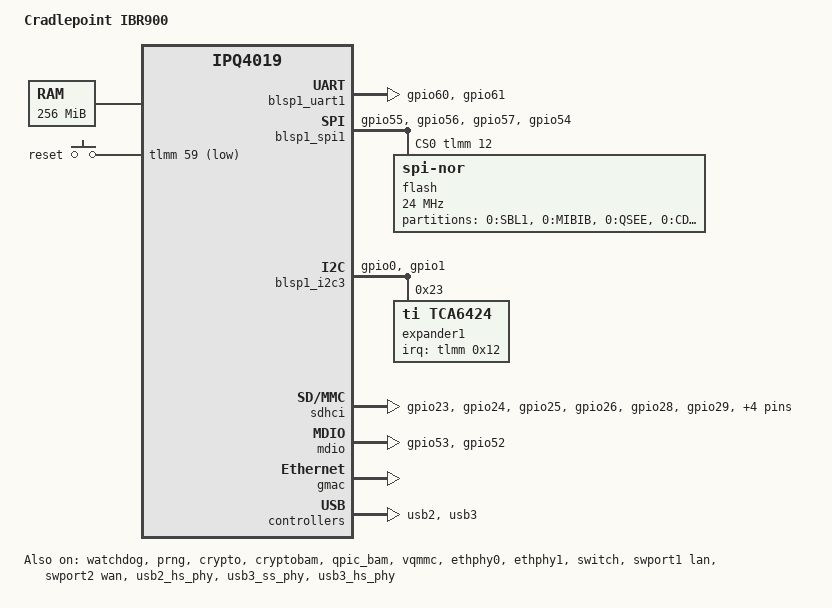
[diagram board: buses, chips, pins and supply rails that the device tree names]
// SPDX-License-Identifier: GPL-2.0-or-later
/* Copyright (c) 2025, Natalie Moore <natalie@natalielucy.dev> */

#include "qcom-ipq4019.dtsi"
#include <dt-bindings/gpio/gpio.h>
#include <dt-bindings/input/input.h>
#include <dt-bindings/leds/common.h>
#include <dt-bindings/soc/qcom,tcsr.h>

/ {
    model = "Cradlepoint IBR900";
    compatible = "cradlepoint,ibr900";

    aliases {
		// TODO: Verify if the ethernet0 alias is needed
		ethernet0 = &gmac;
	};

    memory {
        device_type = "memory";
        reg = <0x80000000 0x10000000>;
    };

    soc {
		ess_tcsr@1953000 {
			compatible = "qcom,tcsr";
			reg = <0x1953000 0x1000>;
			qcom,ess-interface-select = <TCSR_ESS_PSGMII>;
		};

		tcsr@1949000 {
			compatible = "qcom,tcsr";
			reg = <0x1949000 0x100>;
			qcom,wifi_glb_cfg = <TCSR_WIFI_GLB_CFG>;
		};

		tcsr@1957000 {
			compatible = "qcom,tcsr";
			reg = <0x1957000 0x100>;
			qcom,wifi_noc_memtype_m0_m2 = <TCSR_WIFI_NOC_MEMTYPE_M0_M2>;
		};
	};

    keys {
        compatible = "gpio-keys";

        reset {
            label = "reset";
            gpios = <&tlmm 59 GPIO_ACTIVE_LOW>;
            //linux,code = <KEY_RESTART>;
        };
    };
};

&watchdog {
	status = "okay";
};

&prng {
	status = "okay";
};

&crypto {
	status = "okay";
};

&blsp_dma {
	status = "okay";
};

&blsp1_uart1 {
        status = "okay";
        pinctrl-0 = <&serial_0_pins>;
        pinctrl-names = "default";
};

&blsp1_spi1 {
    status = "okay";

	pinctrl-0 = <&spi_0_pins>;
	pinctrl-names = "default";
    cs-gpios = <&tlmm 12 GPIO_ACTIVE_HIGH>;

    flash@0 {
		compatible = "jedec,spi-nor";
		spi-max-frequency = <24000000>;
		reg = <0>;

        #address-cells = <1>;
        #size-cells = <1>;

		partitions {
			compatible = "fixed-partitions";
			#address-cells = <1>;
			#size-cells = <1>;

			partition0@0 {
				label = "0:SBL1";
				reg = <0x00000000 0x00040000>;
				read-only;
			};

			partition1@40000 {
				label = "0:MIBIB";
				reg = <0x00040000 0x00020000>;
				read-only;
			};

			partition2@60000 {
				label = "0:QSEE";
				reg = <0x00060000 0x00060000>;
				read-only;
			};

			partition3@c0000 {
				label = "0:CDT";
				reg = <0x000c0000 0x00010000>;
				read-only;
			};

			partition4@d0000 {
				label = "0:DDRPARAMS";
				reg = <0x000d0000 0x00010000>;
				read-only;
			};

			partition5@e0000 {
				label = "0:APPSBLENV"; /* uboot env */
				reg = <0x000e0000 0x00010000>;
				read-only;
			};

			partition6@f0000 {
				label = "0:APPSBL"; /* uboot */
				reg = <0x000f0000 0x00080000>;
				read-only;
			};
		};
	};
};

&blsp1_i2c3 {
	pinctrl-0 = <&i2c_0_pins>;
	pinctrl-names = "default";
	status = "okay";

    expander1: gpio@35 {
        compatible = "ti,tca6424";
        gpio-controller;
        #gpio-cells = <2>;
        interrupts = <0x12>;
        interrupt-parent = <&tlmm>;
        reg = <0x23>;
    };

};


&cryptobam {
	status = "okay";
};

&qpic_bam {
	status = "okay";
};

&tlmm {
	mdio_pins: mdio_pinmux {
		mux_1 {
			pins = "gpio53";
			function = "mdio";
			bias-pull-up;
		};
		mux_2 {
			pins = "gpio52";
			function = "mdc";
			bias-pull-up;
		};
	};

	spi_0_pins: spi_0_pinmux {
		pin {
			function = "blsp_spi0";
			pins = "gpio55", "gpio56", "gpio57";
			drive-strength = <12>;
			bias-disable;
		};
		pin_cs {
			function = "gpio";
			pins = "gpio54";
			drive-strength = <2>;
			bias-disable;
			output-high;
		};
	};

	i2c_0_pins: i2c_0_pinmux {
		mux {
			pins = "gpio0", "gpio1";
			function = "blsp_i2c0";
			//drive-strength = <4>;
			drive-open-drain;
		};
	};


	serial_0_pins: serial_0_pinmux {
		mux {
			pins = "gpio60", "gpio61";
			function = "blsp_uart0";
			bias-disable;
		};
	};

    sd_pins: sd_pins {
		pinmux {
			function = "sdio";
			pins = "gpio23", "gpio24", "gpio25", "gpio26",
				"gpio28", "gpio29", "gpio30", "gpio31";
			drive-strength = <10>;
		};
		pinmux_sd_clk {
			function = "sdio";
			pins = "gpio27";
			drive-strength = <16>;
		};
		pinmux_sd7 {
			function = "sdio";
			pins = "gpio32";
			drive-strength = <10>;
			bias-disable;
		};
	};
};

&vqmmc {
	status = "okay";
};

&sdhci {
	status = "okay";

	pinctrl-0 = <&sd_pins>;
	pinctrl-names = "default";
	vqmmc-supply = <&vqmmc>;
};

&mdio {
	status = "okay";
	pinctrl-0 = <&mdio_pins>;
	pinctrl-names = "default";
    //reset-gpios = <&tlmm 47 GPIO_ACTIVE_LOW>;
	//reset-delay-us = <2000>;
    
};

&ethphy0 {
    status = "okay";
};

&ethphy1 {
    status = "okay";
};

&gmac {
	status = "okay";
};

&switch {
	status = "okay";
};

&swport1 {
    status = "okay";
    label = "lan";
};

&swport2 {
	status = "okay";
	label = "wan";
};

&usb2 {
	status = "okay";
};

&usb2_hs_phy {
	status = "okay";
};

&usb3 {
	status = "okay";
};

&usb3_ss_phy {
	status = "okay";
};

&usb3_hs_phy {
	status = "okay";
};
